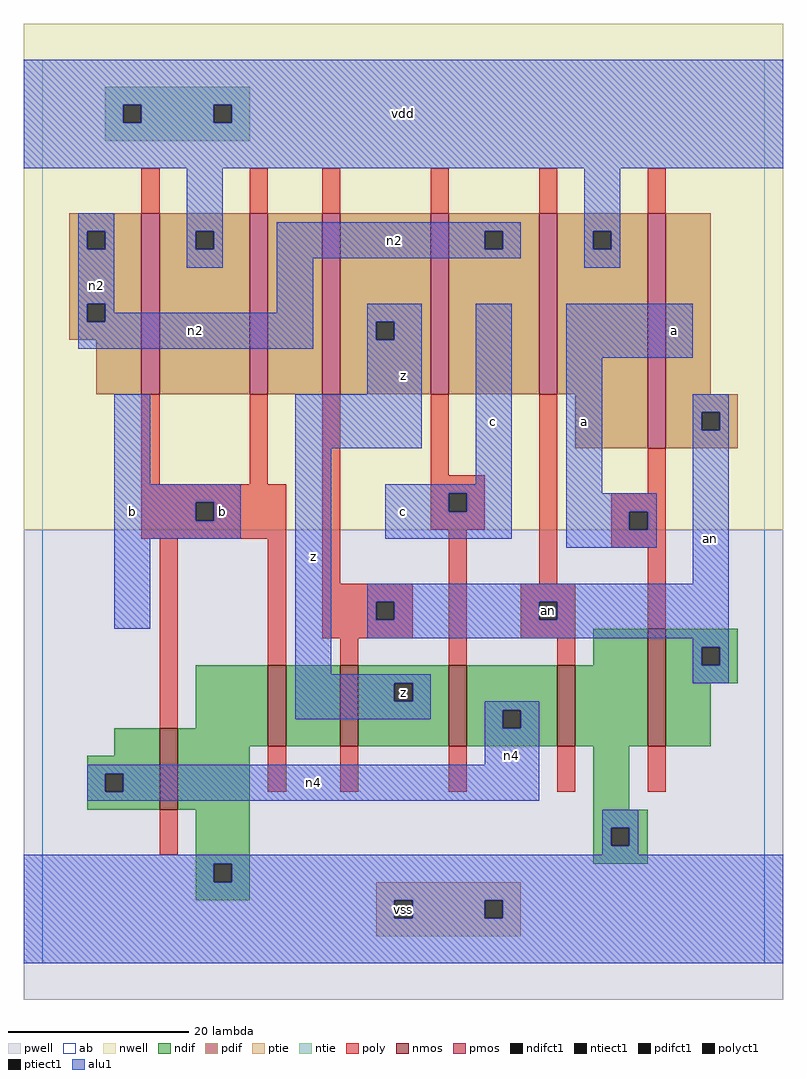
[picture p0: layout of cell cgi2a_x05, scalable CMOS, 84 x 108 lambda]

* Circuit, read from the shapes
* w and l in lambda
.subckt cgi2a_x05 a an b c n2 n4 vdd vss z
M1 vss b n4 vss nfet w=9 l=2
M2 n1 b vss vss nfet w=9 l=2
M3 z an n1 vss nfet w=9 l=2
M4 n4 c z vss nfet w=9 l=2
M5 vss an n4 vss nfet w=9 l=2
M6 an a vss vss nfet w=13 l=2
M7 vdd b n2 vdd pfet w=20 l=2
M8 n3 b vdd vdd pfet w=20 l=2
M9 z an n3 vdd pfet w=20 l=2
M10 n2 c z vdd pfet w=20 l=2
M11 vdd an n2 vdd pfet w=20 l=2
M12 an a vdd vdd pfet w=26 l=2
.ends

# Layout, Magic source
magic
tech scmos
<< ab >>
rect 0 0 80 100
<< nwell >>
rect -2 48 82 104
<< pwell >>
rect -2 -4 82 48
<< poly >>
rect 11 83 13 88
rect 23 83 25 88
rect 31 83 33 88
rect 43 83 45 88
rect 55 83 57 88
rect 67 83 69 88
rect 11 53 13 63
rect 23 53 25 63
rect 11 51 27 53
rect 11 49 17 51
rect 19 49 27 51
rect 11 47 27 49
rect 13 26 15 47
rect 25 33 27 47
rect 31 42 33 63
rect 43 54 45 63
rect 43 52 49 54
rect 43 50 45 52
rect 47 50 49 52
rect 43 48 49 50
rect 31 40 41 42
rect 31 38 37 40
rect 39 38 41 40
rect 31 36 41 38
rect 33 33 35 36
rect 45 33 47 48
rect 55 42 57 63
rect 67 52 69 57
rect 63 50 69 52
rect 63 48 65 50
rect 67 48 69 50
rect 63 46 69 48
rect 53 40 59 42
rect 53 38 55 40
rect 57 38 59 40
rect 53 36 59 38
rect 67 37 69 46
rect 57 33 59 36
rect 25 19 27 24
rect 33 19 35 24
rect 45 19 47 24
rect 57 19 59 24
rect 13 12 15 17
rect 67 19 69 24
<< ndif >>
rect 61 33 67 37
rect 17 26 25 33
rect 8 23 13 26
rect 5 21 13 23
rect 5 19 7 21
rect 9 19 13 21
rect 5 17 13 19
rect 15 24 25 26
rect 27 24 33 33
rect 35 31 45 33
rect 35 29 39 31
rect 41 29 45 31
rect 35 24 45 29
rect 47 28 57 33
rect 47 26 51 28
rect 53 26 57 28
rect 47 24 57 26
rect 59 24 67 33
rect 69 35 77 37
rect 69 33 73 35
rect 75 33 77 35
rect 69 31 77 33
rect 69 24 74 31
rect 15 17 23 24
rect 17 11 23 17
rect 61 17 65 24
rect 61 15 67 17
rect 61 13 63 15
rect 65 13 67 15
rect 61 11 67 13
rect 17 9 19 11
rect 21 9 23 11
rect 17 7 23 9
<< pdif >>
rect 3 81 11 83
rect 3 79 5 81
rect 7 79 11 81
rect 3 73 11 79
rect 3 71 5 73
rect 7 71 11 73
rect 3 69 11 71
rect 6 63 11 69
rect 13 81 23 83
rect 13 79 17 81
rect 19 79 23 81
rect 13 63 23 79
rect 25 63 31 83
rect 33 71 43 83
rect 33 69 37 71
rect 39 69 43 71
rect 33 63 43 69
rect 45 81 55 83
rect 45 79 49 81
rect 51 79 55 81
rect 45 63 55 79
rect 57 81 67 83
rect 57 79 61 81
rect 63 79 67 81
rect 57 63 67 79
rect 59 57 67 63
rect 69 63 74 83
rect 69 61 77 63
rect 69 59 73 61
rect 75 59 77 61
rect 69 57 77 59
<< alu1 >>
rect -2 95 82 100
rect -2 93 9 95
rect 11 93 19 95
rect 21 93 82 95
rect -2 88 82 93
rect 4 81 8 83
rect 4 79 5 81
rect 7 79 8 81
rect 4 73 8 79
rect 16 81 20 88
rect 16 79 17 81
rect 19 79 20 81
rect 16 77 20 79
rect 26 81 53 82
rect 26 79 49 81
rect 51 79 53 81
rect 26 78 53 79
rect 60 81 64 88
rect 60 79 61 81
rect 63 79 64 81
rect 4 71 5 73
rect 7 72 8 73
rect 26 72 30 78
rect 60 77 64 79
rect 7 71 30 72
rect 4 68 30 71
rect 36 71 42 73
rect 36 69 37 71
rect 39 69 42 71
rect 36 63 42 69
rect 8 53 12 63
rect 28 57 42 63
rect 8 51 22 53
rect 8 49 17 51
rect 19 49 22 51
rect 8 47 22 49
rect 8 37 12 47
rect 28 32 32 57
rect 48 53 52 73
rect 38 52 52 53
rect 38 50 45 52
rect 47 50 52 52
rect 38 47 52 50
rect 58 67 72 73
rect 58 52 62 67
rect 72 61 76 63
rect 72 59 73 61
rect 75 59 76 61
rect 58 50 68 52
rect 58 48 65 50
rect 67 48 68 50
rect 58 46 68 48
rect 72 42 76 59
rect 36 40 76 42
rect 36 38 37 40
rect 39 38 55 40
rect 57 38 76 40
rect 36 36 76 38
rect 72 35 76 36
rect 72 33 73 35
rect 75 33 76 35
rect 28 31 43 32
rect 72 31 76 33
rect 28 29 39 31
rect 41 29 43 31
rect 28 27 43 29
rect 49 28 55 29
rect 49 26 51 28
rect 53 26 55 28
rect 49 22 55 26
rect 5 21 55 22
rect 5 19 7 21
rect 9 19 55 21
rect 5 18 55 19
rect 62 15 66 17
rect 62 13 63 15
rect 65 13 66 15
rect 62 12 66 13
rect -2 11 82 12
rect -2 9 19 11
rect 21 9 82 11
rect -2 7 82 9
rect -2 5 39 7
rect 41 5 49 7
rect 51 5 82 7
rect -2 0 82 5
<< ptie >>
rect 37 7 53 9
rect 37 5 39 7
rect 41 5 49 7
rect 51 5 53 7
rect 37 3 53 5
<< ntie >>
rect 7 95 23 97
rect 7 93 9 95
rect 11 93 19 95
rect 21 93 23 95
rect 7 91 23 93
<< nmos >>
rect 13 17 15 26
rect 25 24 27 33
rect 33 24 35 33
rect 45 24 47 33
rect 57 24 59 33
rect 67 24 69 37
<< pmos >>
rect 11 63 13 83
rect 23 63 25 83
rect 31 63 33 83
rect 43 63 45 83
rect 55 63 57 83
rect 67 57 69 83
<< polyct1 >>
rect 17 49 19 51
rect 45 50 47 52
rect 37 38 39 40
rect 65 48 67 50
rect 55 38 57 40
<< ndifct1 >>
rect 7 19 9 21
rect 39 29 41 31
rect 51 26 53 28
rect 73 33 75 35
rect 63 13 65 15
rect 19 9 21 11
<< ntiect1 >>
rect 9 93 11 95
rect 19 93 21 95
<< ptiect1 >>
rect 39 5 41 7
rect 49 5 51 7
<< pdifct1 >>
rect 5 79 7 81
rect 5 71 7 73
rect 17 79 19 81
rect 37 69 39 71
rect 49 79 51 81
rect 61 79 63 81
rect 73 59 75 61
<< labels >>
rlabel alu1 10 50 10 50 6 b
rlabel alu1 6 75 6 75 6 n2
rlabel alu1 20 50 20 50 6 b
rlabel alu1 17 70 17 70 6 n2
rlabel ptiect1 40 6 40 6 6 vss
rlabel ndifct1 40 30 40 30 6 z
rlabel alu1 30 45 30 45 6 z
rlabel alu1 40 50 40 50 6 c
rlabel alu1 40 65 40 65 6 z
rlabel alu1 40 94 40 94 6 vdd
rlabel alu1 52 23 52 23 6 n4
rlabel alu1 30 20 30 20 6 n4
rlabel alu1 60 60 60 60 6 a
rlabel alu1 50 60 50 60 6 c
rlabel alu1 39 80 39 80 6 n2
rlabel polyct1 56 39 56 39 6 an
rlabel alu1 74 47 74 47 6 an
rlabel alu1 70 70 70 70 6 a
<< end >>
